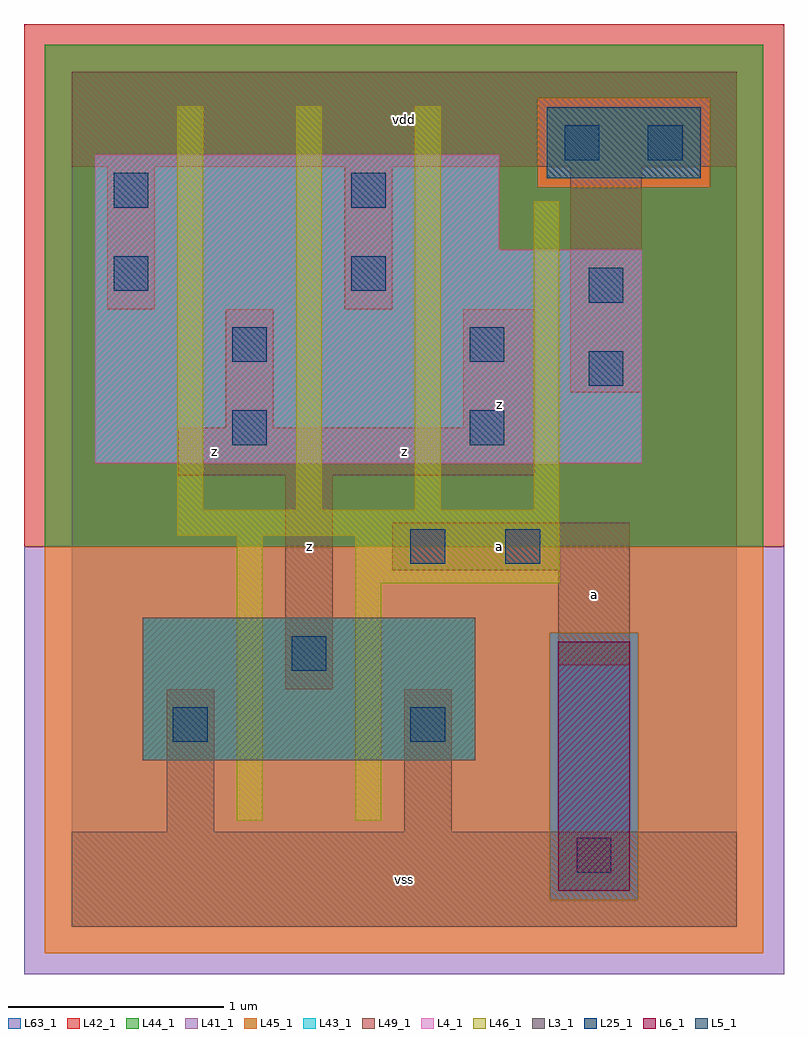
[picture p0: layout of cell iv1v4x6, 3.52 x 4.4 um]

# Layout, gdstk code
import gdstk
lib = gdstk.Library(unit=1e-6, precision=1e-09)
def R(c, l, rs):  # rectangles x0, y0, x1, y1
    for r in rs: c.add(gdstk.rectangle(r[:2], r[2:], *l))
def A(c, l, x, y, w, h, nx, ny, dx, dy):  # array of equal rectangles
    R(c, l, [(x+i*dx, y+j*dy, x+i*dx+w, y+j*dy+h) for i in range(nx) for j in range(ny)])
L3_1 = (3, 1)
L4_1 = (4, 1)
L5_1 = (5, 1)
L6_1 = (6, 1)
L25_1 = (25, 1)
L41_1 = (41, 1)
L42_1 = (42, 1)
L43_1 = (43, 1)
L44_1 = (44, 1)
L45_1 = (45, 1)
L46_1 = (46, 1)
L49_1 = (49, 1)
L63_1 = (63, 1)

iv1v4x6 = lib.new_cell('iv1v4x6')
R(iv1v4x6, L3_1, [(0.33,0.77,1.87,1.43)])
R(iv1v4x6, L4_1, [(0.11,2.145,2.64,3.135), (0.11,3.135,1.98,3.575)])
R(iv1v4x6, L5_1, [(2.2,3.465,2.915,3.795)])
R(iv1v4x6, L6_1, [(2.255,0.165,2.585,1.32)])
R(iv1v4x6, L25_1, [(2.34,0.25,2.5,0.41), (0.47,0.855,0.63,1.015), (1.57,0.855,1.73,1.015), (1.02,1.185,1.18,1.345), (1.57,1.68,1.73,1.84), (2.01,1.68,2.17,1.84), (0.745,2.23,0.905,2.39), (1.845,2.23,2.005,2.39), (2.395,2.505,2.555,2.665), (0.745,2.615,0.905,2.775), (1.845,2.615,2.005,2.775), (2.395,2.89,2.555,3.05), (0.195,2.945,0.355,3.105), (1.295,2.945,1.455,3.105), (0.195,3.33,0.355,3.49), (1.295,3.33,1.455,3.49), (2.285,3.55,2.445,3.71), (2.67,3.55,2.83,3.71)])
R(iv1v4x6, L41_1, [(-0.22,-0.22,3.3,1.76)])
R(iv1v4x6, L42_1, [(-0.22,1.76,3.3,4.18)])
R(iv1v4x6, L43_1, [(2.255,0.165,2.585,1.32), (0.33,0.77,1.87,1.43), (0.11,2.145,2.64,3.135), (0.11,3.135,1.98,3.575), (2.2,3.465,2.915,3.795)])
R(iv1v4x6, L44_1, [(2.215,0.125,2.625,1.36), (-0.125,1.76,3.205,3.425), (-0.125,3.425,2.16,3.835), (2.955,3.425,3.205,3.835), (-0.125,3.835,3.205,4.085)])
R(iv1v4x6, L45_1, [(-0.125,-0.125,3.205,0.125), (-0.125,0.125,2.215,1.36), (2.625,0.125,3.205,1.36), (-0.125,1.36,3.205,1.76), (2.16,3.425,2.955,3.835)])
A(iv1v4x6, L46_1, 0.49, 1.93, 0.12, 1.87, 3, 1, 0.55, 0)
R(iv1v4x6, L46_1, [(0.765,0.49,0.885,1.81), (1.315,0.49,1.435,1.59), (1.315,1.59,2.26,1.81), (0.49,1.81,2.26,1.93), (2.14,1.93,2.26,3.36)])
R(iv1v4x6, L49_1, [(0,0,3.08,0.44), (0.44,0.44,0.66,1.1), (1.54,0.44,1.76,1.1), (0.99,1.1,1.21,2.09), (2.255,1.21,2.585,1.65), (1.485,1.65,2.585,1.87), (0.495,2.09,2.145,2.31), (0.715,2.31,0.935,2.86), (1.815,2.31,2.145,2.86), (2.31,2.475,2.64,3.52), (0.165,2.86,0.385,3.52), (1.265,2.86,1.485,3.52), (0,3.52,3.08,3.96)])
R(iv1v4x6, L63_1, [(0,0,3.08,3.96)])
iv1v4x6.add(gdstk.Label('z', (1.1,1.76), layer=49, texttype=1))
iv1v4x6.add(gdstk.Label('z', (0.66,2.2), layer=49, texttype=1))
iv1v4x6.add(gdstk.Label('vss', (1.54,0.22), layer=49, texttype=1))
iv1v4x6.add(gdstk.Label('a', (1.98,1.76), layer=49, texttype=1))
iv1v4x6.add(gdstk.Label('z', (1.54,2.2), layer=49, texttype=1))
iv1v4x6.add(gdstk.Label('z', (1.98,2.42), layer=49, texttype=1))
iv1v4x6.add(gdstk.Label('vdd', (1.54,3.74), layer=49, texttype=1))
iv1v4x6.add(gdstk.Label('a', (2.42,1.54), layer=49, texttype=1))

lib.write_gds('iv1v4x6.gds')
